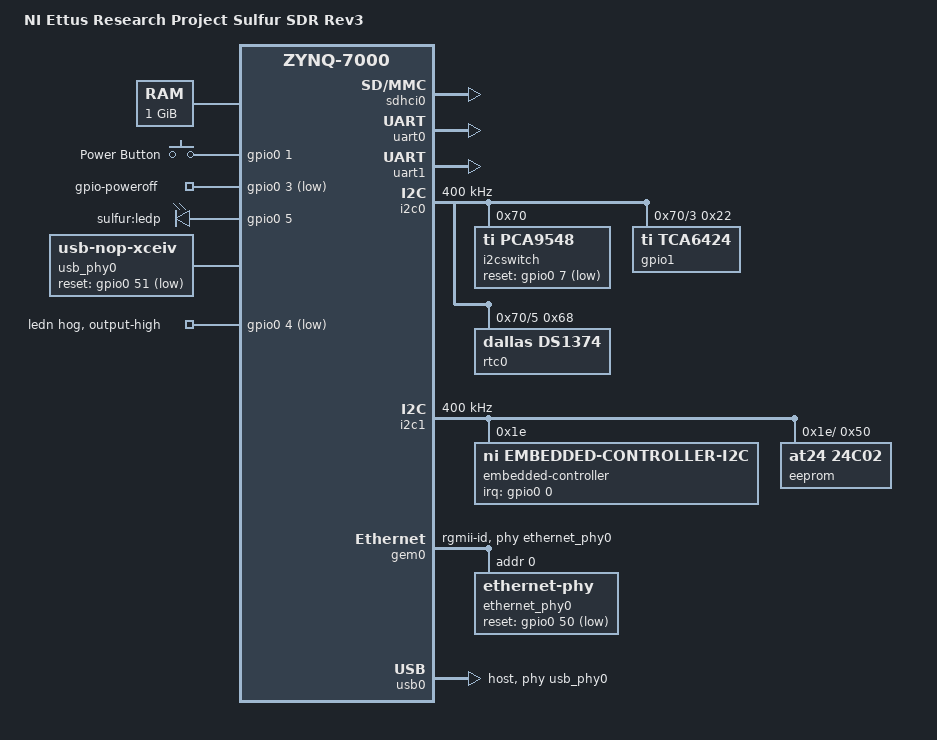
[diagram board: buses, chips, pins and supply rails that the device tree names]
/*
 * National Instruments Ettus Research Project Sulfur SDR Revision 2
 * devicetree source.
 *
 * Copyright (c) 2016 National Instruments Corp.
 *
 * This file is dual-licensed: you can use it either under the terms
 * of the GPL or the X11 license, at your option. Note that this dual
 * licensing only applies to this file, and not this project as a
 * whole.
 *
 *  a) This file is free software; you can redistribute it and/or
 *     modify it under the terms of the GNU General Public License as
 *     published by the Free Software Foundation; either version 2 of the
 *     License, or (at your option) any later version.
 *
 *     This file is distributed in the hope that it will be useful,
 *     but WITHOUT ANY WARRANTY; without even the implied warranty of
 *     MERCHANTABILITY or FITNESS FOR A PARTICULAR PURPOSE.  See the
 *     GNU General Public License for more details.
 *
 *  Or, alternatively,
 *
 *  b) Permission is hereby granted, free of charge, to any person
 *     obtaining a copy of this software and associated documentation
 *     files (the "Software"), to deal in the Software without
 *     restriction, including without limitation the rights to use,
 *     copy, modify, merge, publish, distribute, sublicense, and/or
 *     sell copies of the Software, and to permit persons to whom the
 *     Software is furnished to do so, subject to the following
 *     conditions:
 *
 *     The above copyright notice and this permission notice shall be
 *     included in all copies or substantial portions of the Software.
 *
 *     THE SOFTWARE IS PROVIDED "AS IS", WITHOUT WARRANTY OF ANY KIND,
 *     EXPRESS OR IMPLIED, INCLUDING BUT NOT LIMITED TO THE WARRANTIES
 *     OF MERCHANTABILITY, FITNESS FOR A PARTICULAR PURPOSE AND
 *     NONINFRINGEMENT. IN NO EVENT SHALL THE AUTHORS OR COPYRIGHT
 *     HOLDERS BE LIABLE FOR ANY CLAIM, DAMAGES OR OTHER LIABILITY,
 *     WHETHER IN AN ACTION OF CONTRACT, TORT OR OTHERWISE, ARISING
 *     FROM, OUT OF OR IN CONNECTION WITH THE SOFTWARE OR THE USE OR
 *     OTHER DEALINGS IN THE SOFTWARE.
 */

/dts-v1/;

#include <dt-bindings/input/input.h>
#include <dt-bindings/interrupt-controller/irq.h>
#include <dt-bindings/gpio/gpio.h>
#include "zynq-7000.dtsi"

/ {
	model = "NI Ettus Research Project Sulfur SDR Rev3";
	compatible = "ettus,zynq-sulfur-rev3", "xlnx,zynq-7000";

	aliases {
		ethernet0 = &gem0;
		serial0 = &uart0;
		serial1 = &uart1;
		spi0 = &spi0;
		spi1 = &spi1;
		i2c0 = &i2c0;
		i2c1 = &i2c1;
		i2c2 = &tun;
	};

	memory {
		device_type = "memory";
		reg = <0x0 0x40000000>;
	};

	chosen {
		stdout-path = "serial0:115200n8";
	};

	gpio-keys {
		compatible = "gpio-keys";
		#address-cells = <1>;
		#size-cells = <0>;

		power-button {
			label = "Power Button";
			linux,code = <KEY_POWER>;
			gpios = <&gpio0 1 GPIO_ACTIVE_HIGH>;
		};
	};

	gpio-poweroff {
		compatible = "gpio-poweroff";
		gpios = <&gpio0 3 GPIO_ACTIVE_LOW>;
	};

	leds {
		compatible = "gpio-leds";
		led0 {
			label = "sulfur:ledp";
			gpios = <&gpio0 5 GPIO_ACTIVE_HIGH>;
			linux,default-trigger = "heartbeat";
			default-state = "keep";
		};
	};

	usb_phy0: phy0 {
		compatible = "usb-nop-xceiv";
		#phy-cells = <0>;
		reset-gpios = <&gpio0 51 GPIO_ACTIVE_LOW>;
	};

};

&cpu0 {
	operating-points = <800000 1000000>;
};

&sdhci0 {
	status = "okay";
};

&uart0 {
	status = "okay";
};

&uart1 {
	status = "okay";
};

/* we use the ARM global timer */
&ttc0 {
	status = "disabled";
};

/* we use the ARM global timer */
&ttc1 {
	status = "disabled";
};

&i2c0 {
	status = "okay";
	clock-frequency = <400000>;

	i2cswitch@70 {
		compatible = "ti,pca9548";
		#address-cells = <1>;
		#size-cells = <0>;
		reg = <0x70>;

		reset-gpios = <&gpio0 7 GPIO_ACTIVE_LOW>;

		i2c@0 {
			reg = <0>;
			status = "disabled";
		};

		i2c@1 {
			reg = <1>;
			status = "disabled";
		};

		i2c@2 {
			reg = <2>;
			status = "disabled";
		};

		i2c@3 {
			reg = <3>;
			status = "okay";
			#address-cells = <1>;
			#size-cells = <0>;

			gpio1: gpio@22 {
				compatible = "ti,tca6424";
				reg = <0x22>;
				gpio-controller;
				#gpio-cells = <2>;
			};
		};

		i2c@4 {
			reg = <4>;
			status = "disabled";
		};

		i2c@5 {
			reg = <5>;
			status = "okay";
			#address-cells = <1>;
			#size-cells = <0>;

			rtc0: rtc@68 {
				compatible = "dallas,ds1374";
				reg = <0x68>;
				reset-on-timeout;
				trickle-resistor-ohms = <250>;
				trickle-diode-disable;
				timeout-sec = <10>;
			};
		};

		usrpio_i2c0: i2c@6 {
			#address-cells = <1>;
			#size-cells = <0>;

			reg = <6>;
		};

		usrpio_i2c1: i2c@7 {
			#address-cells = <1>;
			#size-cells = <0>;

			reg = <6>;
		};
	};
};

&i2c1 {
	status = "okay";
	clock-frequency = <400000>;

	embedded-controller@1e {
		reg = <0x1e>;
		compatible = "ni,embedded-controller-i2c",
			     "google,cros-ec-i2c";
		interrupts = <0 IRQ_TYPE_LEVEL_LOW>;
		interrupt-parent = <&gpio0>;
		google,has-vbc-nvram;

		wakeup-source;

		tun: i2c-tunnel {
			compatible = "google,cros-ec-i2c-tunnel";
			#address-cells = <1>;
			#size-cells = <0>;
			google,remote-bus = <0>;
			clock-frequency = <100000>;

			eeprom@50 {
				compatible = "at24,24c02";
				reg = <0x50>;
				#address-cells = <1>;
				#size-cells = <0>;
				read-only;

				eth0_addr: eth-addr@24 {
					reg = <0x24 0x6>;
				};

				eth1_addr: eth-addr@2c {
					reg = <0x2c 0x6>;
				};

				eth2_addr: eth-addr@34 {
					reg = <0x34 0x6>;
				};
			};
		};
	};

};

&gpio0 {
	status = "okay";

	ledn {
		gpio-hog;
		gpios = <4 GPIO_ACTIVE_LOW>;
		output-high;
	};
};

&clkc {
	ps-clk-frequency = <33333333>;
	fclk-enable = <0xf>;
};

&spi0 {
	status = "disabled";
};

&spi1 {
	status = "disabled";
};

&gem0 {
	status = "okay";
	phy-mode = "rgmii-id";
	phy-handle = <&ethernet_phy0>;

	nvmem-cells = <&eth0_addr>;
	nvmem-cell-names = "address";

	ethernet_phy0: ethernet-phy@0 {
		reg = <0>;
		reset-gpios = <&gpio0 50 GPIO_ACTIVE_LOW>;
	};
};

&usb0 {
	status = "okay";
	dr_mode = "host";
	usb-phy = <&usb_phy0>;
};

&amba {
	fpga_region0: fpga-region@40000000 {
		compatible = "fpga-region";
		fpga-mgr = <&devcfg>;
		#address-cells = <0x1>;
		#size-cells = <0x1>;
		ranges;
	};

	ocm: sram@fffc0000 {
		compatible = "mmio-sram";
		reg = <0xfffc0000 0x10000>;
	};
};
